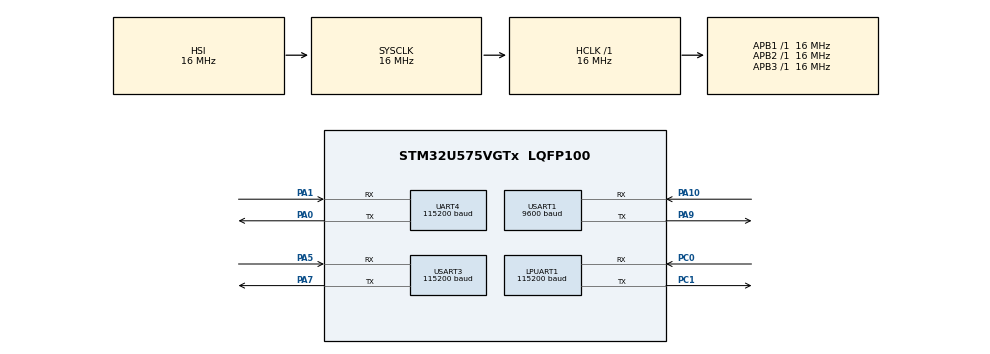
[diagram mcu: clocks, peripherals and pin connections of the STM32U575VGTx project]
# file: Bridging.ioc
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CORTEX_M33_NS.userName=CORTEX_M33
Mcu.Family=STM32U5
Mcu.Name=STM32U575VGTx
Mcu.Package=LQFP100
NVIC.LPUART1_IRQn=true\:0\:0\:false\:false\:true\:true\:true\:true
NVIC.PriorityGroup=NVIC_PRIORITYGROUP_4
NVIC.UART4_IRQn=true\:0\:0\:false\:false\:true\:true\:true\:true
NVIC.USART1_IRQn=true\:0\:0\:false\:false\:true\:true\:true\:true
NVIC.USART3_IRQn=true\:0\:0\:false\:false\:true\:true\:true\:true
PA0.Mode=Asynchronous
PA0.Signal=UART4_TX
PA1.Mode=Asynchronous
PA1.Signal=UART4_RX
PA10.Mode=Asynchronous
PA10.Signal=USART1_RX
PA13\ (JTMS/SWDIO).Mode=Serial_Wire
PA13\ (JTMS/SWDIO).Signal=DEBUG_JTMS-SWDIO
PA14\ (JTCK/SWCLK).Mode=Serial_Wire
PA14\ (JTCK/SWCLK).Signal=DEBUG_JTCK-SWCLK
PA5.Mode=Asynchronous
PA5.Signal=USART3_RX
PA7.Mode=Asynchronous
PA7.Signal=USART3_TX
PA9.Mode=Asynchronous
PA9.Signal=USART1_TX
PC0.Mode=Asynchronous
PC0.Signal=LPUART1_RX
PC1.Mode=Asynchronous
PC1.Signal=LPUART1_TX
ProjectManager.HeapSize=0x200
ProjectManager.StackSize=0x400
ProjectManager.TargetToolchain=MDK-ARM V5.39
RCC.ADCFreq_Value=16000000
RCC.AHBFreq_Value=16000000
RCC.APB1Freq_Value=16000000
RCC.APB1TimFreq_Value=16000000
RCC.APB2Freq_Value=16000000
RCC.APB2TimFreq_Value=16000000
RCC.APB3Freq_Value=16000000
RCC.CortexFreq_Value=16000000
RCC.EPOD_VALUE=4000000
RCC.HCLKFreq_Value=16000000
RCC.HSE_VALUE=16000000
RCC.HSI48_VALUE=48000000
RCC.HSI_VALUE=16000000
RCC.LSE_VALUE=32768
RCC.LSIDIV_VALUE=32000
RCC.MSI_VALUE=4000000
RCC.SYSCLKFreq_VALUE=16000000
RCC.SYSCLKSource=RCC_SYSCLKSOURCE_HSI
RCC.USBFreq_Value=48000000
RCC.VCOOutputFreq_Value=516000000
LPUART1.BaudRate=115200
LPUART1.VirtualMode-Asynchronous=VM_ASYNC
UART4.BaudRate=115200
UART4.VirtualMode-Asynchronous=VM_ASYNC
USART1.BaudRate=9600
USART1.VirtualMode-Asynchronous=VM_ASYNC
USART3.BaudRate=115200
USART3.VirtualMode-Asynchronous=VM_ASYNC
VP_LPBAMQUEUE_VS_QUEUE.Mode=QUEUEMODE
VP_LPBAM_VS_SIG1.Mode=SmartRun
VP_LPBAM_VS_SIG4.Mode=LPDMA1
VP_MEMORYMAP_VS_MEMORYMAP.Mode=CurAppReg
VP_PWR_VS_SECSignals.Mode=Security/Privilege
board=custom

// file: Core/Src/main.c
/* USER CODE BEGIN Header */
/**
  ******************************************************************************
  * @file           : main.c
  * @brief          : Main program body
  ******************************************************************************
  * @attention
  *
  * Copyright (c) 2026 STMicroelectronics.
  * All rights reserved.
  *
  * This software is licensed under terms that can be found in the LICENSE file
  * in the root directory of this software component.
  * If no LICENSE file comes with this software, it is provided AS-IS.
  *
  ******************************************************************************
  */
/* USER CODE END Header */
#include "main.h"

/* USER CODE BEGIN Includes */
#include <string.h>
/* USER CODE END Includes */

/* USER CODE BEGIN PTD */
#define FRAME_SOF0                     0x55U
#define FRAME_SOF1                     0xAAU
#define FRAME_MAX_PAYLOAD              250U
#define UART_RX_DMA_BUFFER_SIZE        512U
#define USART3_RX_QUEUE_SIZE           8192U
#define USART3_TX_FRAME_SIZE           (2U + 1U + 1U + FRAME_MAX_PAYLOAD + 1U)
#define RESPONSE_QUEUE_DEPTH           128U
#define FRAME_PARSE_TIMEOUT_MS         100U
#define USART3_INTER_FRAME_GAP_MS      1U
#define USART3_TX_TIMEOUT_MS           50U

typedef enum
{
  FRAME_WAIT_SOF0 = 0,
  FRAME_WAIT_SOF1,
  FRAME_WAIT_PORT,
  FRAME_WAIT_LEN,
  FRAME_WAIT_PAYLOAD,
  FRAME_WAIT_CHECKSUM
} FrameParseState;

typedef struct
{
  FrameParseState state;
  uint8_t port_id;
  uint8_t len;
  uint8_t index;
  uint8_t checksum;
  uint8_t payload[FRAME_MAX_PAYLOAD];
} FrameParser;

typedef struct
{
  UART_HandleTypeDef *huart;
  uint8_t *rx_buf[2];
  uint16_t rx_buf_size;
  uint8_t active_rx_buf;
} UartRxDmaContext;

typedef struct
{
  uint8_t port_id;
  uint8_t len;
  uint8_t payload[FRAME_MAX_PAYLOAD];
} ResponseItem;

/* USER CODE END PTD */

UART_HandleTypeDef hlpuart1;
UART_HandleTypeDef huart4;
UART_HandleTypeDef huart1;
UART_HandleTypeDef huart3;

/* USER CODE BEGIN PV */
static FrameParser usart3_frame_parser = {0};
static uint8_t usart3_rx_dma_buf[2][UART_RX_DMA_BUFFER_SIZE];
static uint8_t usart3_rx_queue[USART3_RX_QUEUE_SIZE];
static UartRxDmaContext usart3_rx_ctx = {
  &huart3, {usart3_rx_dma_buf[0], usart3_rx_dma_buf[1]},
  UART_RX_DMA_BUFFER_SIZE, 0U
};
static volatile uint16_t usart3_rx_head = 0U;
static volatile uint16_t usart3_rx_tail = 0U;
static volatile uint32_t usart3_rx_overflow_count = 0U;
static volatile uint32_t uart_dma_restart_error_count = 0U;
static uint8_t usart3_tx_dma_buf[USART3_TX_FRAME_SIZE];
static volatile uint8_t usart3_tx_dma_busy = 0U;
static volatile uint32_t usart3_tx_start_tick = 0U;
static volatile uint32_t usart3_tx_done_tick = 0U;
static volatile uint8_t usart3_rx_restart_pending = 0U;
static ResponseItem response_queue[RESPONSE_QUEUE_DEPTH];
static volatile uint8_t resp_head = 0U;
static volatile uint8_t resp_tail = 0U;
static volatile uint32_t response_queue_overflow_count = 0U;
static uint32_t usart3_frame_parser_tick = 0U;

/* USER CODE END PV */

void SystemClock_Config(void);
static void MX_GPIO_Init(void);
static void MX_LPUART1_UART_Init(void);
static void MX_UART4_Init(void);
static void MX_USART1_UART_Init(void);
static void MX_USART3_UART_Init(void);
/* USER CODE BEGIN PFP */
static void App_InitEcho(void);
static void App_ProcessEcho(void);
static HAL_StatusTypeDef App_StartRxDma(UartRxDmaContext *ctx);
static void App_HandleFrame(uint8_t port_id, const uint8_t *payload, uint8_t len);
static void App_TrySendNextResponse(void);
static void App_CheckTxTimeout(void);
static uint16_t App_BuildResponseFrame(uint8_t *buf, uint8_t port_id, const uint8_t *payload, uint8_t len);
static void App_QueueUsart3RxBytes(const uint8_t *payload, uint16_t len);
static uint8_t App_DequeueUsart3RxByte(uint8_t *data);
static void App_RestoreIrqState(uint32_t primask);
static uint8_t FrameParser_Input(FrameParser *parser, uint8_t data);

/* USER CODE END PFP */

int main(void)
{

  /* MCU Configuration--------------------------------------------------------*/

  /* Reset of all peripherals, Initializes the Flash interface and the Systick. */
  HAL_Init();

  /* Configure the system clock */
  SystemClock_Config();

  /* Initialize all configured peripherals */
  MX_GPIO_Init();
  MX_LPUART1_UART_Init();
  MX_UART4_Init();
  MX_USART1_UART_Init();
  MX_USART3_UART_Init();
  /* USER CODE BEGIN 2 */
  App_InitEcho();

  /* USER CODE END 2 */

  /* Infinite loop */
  while (1)
  {

    /* USER CODE BEGIN 3 */
    App_ProcessEcho();
  }
  /* USER CODE END 3 */
}

void SystemClock_Config(void)
{
  RCC_OscInitTypeDef RCC_OscInitStruct = {0};
  RCC_ClkInitTypeDef RCC_ClkInitStruct = {0};

  /** Configure the main internal regulator output voltage
  */
  if (HAL_PWREx_ControlVoltageScaling(PWR_REGULATOR_VOLTAGE_SCALE4) != HAL_OK)
  {
    Error_Handler();
  }

  /** Initializes the CPU, AHB and APB buses clocks
  */
  RCC_OscInitStruct.OscillatorType = RCC_OSCILLATORTYPE_HSI;
  RCC_OscInitStruct.HSIState = RCC_HSI_ON;
  RCC_OscInitStruct.HSICalibrationValue = RCC_HSICALIBRATION_DEFAULT;
  RCC_OscInitStruct.PLL.PLLState = RCC_PLL_NONE;
  if (HAL_RCC_OscConfig(&RCC_OscInitStruct) != HAL_OK)
  {
    Error_Handler();
  }

  /** Initializes the CPU, AHB and APB buses clocks
  */
  RCC_ClkInitStruct.ClockType = RCC_CLOCKTYPE_HCLK|RCC_CLOCKTYPE_SYSCLK
                              |RCC_CLOCKTYPE_PCLK1|RCC_CLOCKTYPE_PCLK2
                              |RCC_CLOCKTYPE_PCLK3;
  RCC_ClkInitStruct.SYSCLKSource = RCC_SYSCLKSOURCE_HSI;
  RCC_ClkInitStruct.AHBCLKDivider = RCC_SYSCLK_DIV1;
  RCC_ClkInitStruct.APB1CLKDivider = RCC_HCLK_DIV1;
  RCC_ClkInitStruct.APB2CLKDivider = RCC_HCLK_DIV1;
  RCC_ClkInitStruct.APB3CLKDivider = RCC_HCLK_DIV1;

  if (HAL_RCC_ClockConfig(&RCC_ClkInitStruct, FLASH_LATENCY_1) != HAL_OK)
  {
    Error_Handler();
  }
}

static void MX_LPUART1_UART_Init(void)
{

  hlpuart1.Instance = LPUART1;
  hlpuart1.Init.BaudRate = 115200;
  hlpuart1.Init.WordLength = UART_WORDLENGTH_8B;
  hlpuart1.Init.StopBits = UART_STOPBITS_1;
  hlpuart1.Init.Parity = UART_PARITY_NONE;
  hlpuart1.Init.Mode = UART_MODE_TX_RX;
  hlpuart1.Init.HwFlowCtl = UART_HWCONTROL_NONE;
  hlpuart1.Init.OneBitSampling = UART_ONE_BIT_SAMPLE_DISABLE;
  hlpuart1.Init.ClockPrescaler = UART_PRESCALER_DIV1;
  hlpuart1.AdvancedInit.AdvFeatureInit = UART_ADVFEATURE_NO_INIT;
  hlpuart1.FifoMode = UART_FIFOMODE_DISABLE;
  if (HAL_UART_Init(&hlpuart1) != HAL_OK)
  {
    Error_Handler();
  }
  if (HAL_UARTEx_SetTxFifoThreshold(&hlpuart1, UART_TXFIFO_THRESHOLD_1_8) != HAL_OK)
  {
    Error_Handler();
  }
  if (HAL_UARTEx_SetRxFifoThreshold(&hlpuart1, UART_RXFIFO_THRESHOLD_1_8) != HAL_OK)
  {
    Error_Handler();
  }
  if (HAL_UARTEx_DisableFifoMode(&hlpuart1) != HAL_OK)
  {
    Error_Handler();
  }

}

static void MX_UART4_Init(void)
{

  huart4.Instance = UART4;
  huart4.Init.BaudRate = 115200;
  huart4.Init.WordLength = UART_WORDLENGTH_8B;
  huart4.Init.StopBits = UART_STOPBITS_1;
  huart4.Init.Parity = UART_PARITY_NONE;
  huart4.Init.Mode = UART_MODE_TX_RX;
  huart4.Init.HwFlowCtl = UART_HWCONTROL_NONE;
  huart4.Init.OverSampling = UART_OVERSAMPLING_16;
  huart4.Init.OneBitSampling = UART_ONE_BIT_SAMPLE_DISABLE;
  huart4.Init.ClockPrescaler = UART_PRESCALER_DIV1;
  huart4.AdvancedInit.AdvFeatureInit = UART_ADVFEATURE_NO_INIT;
  if (HAL_UART_Init(&huart4) != HAL_OK)
  {
    Error_Handler();
  }
  if (HAL_UARTEx_SetTxFifoThreshold(&huart4, UART_TXFIFO_THRESHOLD_1_8) != HAL_OK)
  {
    Error_Handler();
  }
  if (HAL_UARTEx_SetRxFifoThreshold(&huart4, UART_RXFIFO_THRESHOLD_1_8) != HAL_OK)
  {
    Error_Handler();
  }
  if (HAL_UARTEx_DisableFifoMode(&huart4) != HAL_OK)
  {
    Error_Handler();
  }

}

static void MX_USART1_UART_Init(void)
{

  huart1.Instance = USART1;
  huart1.Init.BaudRate = 9600;
  huart1.Init.WordLength = UART_WORDLENGTH_8B;
  huart1.Init.StopBits = UART_STOPBITS_1;
  huart1.Init.Parity = UART_PARITY_NONE;
  huart1.Init.Mode = UART_MODE_TX_RX;
  huart1.Init.HwFlowCtl = UART_HWCONTROL_NONE;
  huart1.Init.OverSampling = UART_OVERSAMPLING_16;
  huart1.Init.OneBitSampling = UART_ONE_BIT_SAMPLE_DISABLE;
  huart1.Init.ClockPrescaler = UART_PRESCALER_DIV1;
  huart1.AdvancedInit.AdvFeatureInit = UART_ADVFEATURE_NO_INIT;
  if (HAL_UART_Init(&huart1) != HAL_OK)
  {
    Error_Handler();
  }
  if (HAL_UARTEx_SetTxFifoThreshold(&huart1, UART_TXFIFO_THRESHOLD_1_8) != HAL_OK)
  {
    Error_Handler();
  }
  if (HAL_UARTEx_SetRxFifoThreshold(&huart1, UART_RXFIFO_THRESHOLD_1_8) != HAL_OK)
  {
    Error_Handler();
  }
  if (HAL_UARTEx_DisableFifoMode(&huart1) != HAL_OK)
  {
    Error_Handler();
  }

}

static void MX_USART3_UART_Init(void)
{

  huart3.Instance = USART3;
  huart3.Init.BaudRate = 921600;
  huart3.Init.WordLength = UART_WORDLENGTH_8B;
  huart3.Init.StopBits = UART_STOPBITS_1;
  huart3.Init.Parity = UART_PARITY_NONE;
  huart3.Init.Mode = UART_MODE_TX_RX;
  huart3.Init.HwFlowCtl = UART_HWCONTROL_NONE;
  huart3.Init.OverSampling = UART_OVERSAMPLING_16;
  huart3.Init.OneBitSampling = UART_ONE_BIT_SAMPLE_DISABLE;
  huart3.Init.ClockPrescaler = UART_PRESCALER_DIV1;
  huart3.AdvancedInit.AdvFeatureInit = UART_ADVFEATURE_NO_INIT;
  if (HAL_UART_Init(&huart3) != HAL_OK)
  {
    Error_Handler();
  }
  if (HAL_UARTEx_SetTxFifoThreshold(&huart3, UART_TXFIFO_THRESHOLD_1_8) != HAL_OK)
  {
    Error_Handler();
  }
  if (HAL_UARTEx_SetRxFifoThreshold(&huart3, UART_RXFIFO_THRESHOLD_1_8) != HAL_OK)
  {
    Error_Handler();
  }
  if (HAL_UARTEx_EnableFifoMode(&huart3) != HAL_OK)   /* FIX: 开启 USART3 FIFO,提高高速桥接链路抗中断延迟的余量 */
  {
    Error_Handler();
  }

}

static void MX_GPIO_Init(void)
{

  /* GPIO Ports Clock Enable */
  __HAL_RCC_GPIOC_CLK_ENABLE();
  __HAL_RCC_GPIOA_CLK_ENABLE();

}

/* USER CODE BEGIN 4 */
static void App_InitEcho(void)
{
  if (App_StartRxDma(&usart3_rx_ctx) != HAL_OK)
  {
    Error_Handler();
  }
}

static void App_ProcessEcho(void)
{
  uint8_t data;

  if (usart3_rx_restart_pending != 0U)
  {
    if (App_StartRxDma(&usart3_rx_ctx) == HAL_OK)
    {
      usart3_rx_restart_pending = 0U;
    }
  }

  while (App_DequeueUsart3RxByte(&data) != 0U)
  {
    if (FrameParser_Input(&usart3_frame_parser, data) != 0U)
    {
      App_HandleFrame(usart3_frame_parser.port_id,
                      usart3_frame_parser.payload,
                      usart3_frame_parser.len);
    }
  }

  App_CheckTxTimeout();

  /* FIX: 帧解析超时保护——半截帧后断流时强制复位状态机,避免吃掉下一帧的帧头 */
  if (usart3_frame_parser.state != FRAME_WAIT_SOF0)
  {
    if ((HAL_GetTick() - usart3_frame_parser_tick) > FRAME_PARSE_TIMEOUT_MS)
    {
      usart3_frame_parser.state = FRAME_WAIT_SOF0;
    }
  }
  else
  {
    usart3_frame_parser_tick = HAL_GetTick();
  }

  App_TrySendNextResponse();
}

static HAL_StatusTypeDef App_StartRxDma(UartRxDmaContext *ctx)
{
  HAL_StatusTypeDef status;

  if ((ctx == 0) || (ctx->huart == 0) || (ctx->huart->hdmarx == 0))
  {
    return HAL_ERROR;
  }

  __HAL_UART_CLEAR_FLAG(ctx->huart,
                        UART_CLEAR_OREF | UART_CLEAR_FEF |
                        UART_CLEAR_NEF | UART_CLEAR_PEF |
                        UART_CLEAR_IDLEF);

  status = HAL_UARTEx_ReceiveToIdle_DMA(ctx->huart,
                                        ctx->rx_buf[ctx->active_rx_buf],
                                        ctx->rx_buf_size);
  if (status == HAL_OK)
  {
    __HAL_DMA_DISABLE_IT(ctx->huart->hdmarx, DMA_IT_HT);
  }

  return status;
}

static void App_HandleFrame(uint8_t port_id, const uint8_t *payload, uint8_t len)
{
  uint8_t next_head;

  if (len == 0U)
  {
    return;
  }

  next_head = (uint8_t)((resp_head + 1U) % RESPONSE_QUEUE_DEPTH);
  if (next_head == resp_tail)
  {
    response_queue_overflow_count++;   /* FIX: 记录响应队列溢出丢帧(原来是静默丢弃,无法诊断) */
    return;
  }

  /* FIX: 预留 1 字节给 '*',即使接近满帧也能追加标记,保证行为一致 */
  if (len > (uint8_t)(FRAME_MAX_PAYLOAD - 1U))
  {
    len = (uint8_t)(FRAME_MAX_PAYLOAD - 1U);
  }
  memcpy(response_queue[resp_head].payload, payload, len);
  response_queue[resp_head].payload[len++] = '*';
  response_queue[resp_head].port_id = port_id;
  response_queue[resp_head].len = len;
  resp_head = next_head;
}

static void App_TrySendNextResponse(void)
{
  ResponseItem *item;
  uint16_t frame_len;

  if (usart3_tx_dma_busy != 0U)
  {
    return;
  }

  if (resp_tail == resp_head)
  {
    return;
  }

  if ((usart3_tx_done_tick != 0U) &&
      ((HAL_GetTick() - usart3_tx_done_tick) < USART3_INTER_FRAME_GAP_MS))
  {
    return;
  }

  item = &response_queue[resp_tail];
  frame_len = App_BuildResponseFrame(usart3_tx_dma_buf, item->port_id, item->payload, item->len);
  if (frame_len == 0U)
  {
    resp_tail = (uint8_t)((resp_tail + 1U) % RESPONSE_QUEUE_DEPTH);
    return;
  }

  usart3_tx_dma_busy = 1U;
  usart3_tx_start_tick = HAL_GetTick();
  if (HAL_UART_Transmit_DMA(&huart3, usart3_tx_dma_buf, frame_len) != HAL_OK)
  {
    usart3_tx_dma_busy = 0U;
    return;
  }

  resp_tail = (uint8_t)((resp_tail + 1U) % RESPONSE_QUEUE_DEPTH);
}

static void App_CheckTxTimeout(void)
{
  if ((usart3_tx_dma_busy != 0U) &&
      ((HAL_GetTick() - usart3_tx_start_tick) > USART3_TX_TIMEOUT_MS))
  {
    (void)HAL_UART_AbortTransmit(&huart3);
    usart3_tx_dma_busy = 0U;
  }
}

static uint16_t App_BuildResponseFrame(uint8_t *buf, uint8_t port_id, const uint8_t *payload, uint8_t len)
{
  uint8_t checksum;
  uint16_t offset = 0U;
  uint8_t i;

  if (len > FRAME_MAX_PAYLOAD)
  {
    return 0U;
  }

  buf[offset++] = FRAME_SOF0;
  buf[offset++] = FRAME_SOF1;
  buf[offset++] = port_id;
  buf[offset++] = len;

  checksum = (uint8_t)(port_id + len);
  for (i = 0U; i < len; i++)
  {
    buf[offset++] = payload[i];
    checksum = (uint8_t)(checksum + payload[i]);
  }

  buf[offset++] = checksum;
  return offset;
}

static void App_QueueUsart3RxBytes(const uint8_t *payload, uint16_t len)
{
  uint16_t i;

  for (i = 0U; i < len; i++)
  {
    uint16_t next_head = (uint16_t)((usart3_rx_head + 1U) % USART3_RX_QUEUE_SIZE);

    if (next_head == usart3_rx_tail)
    {
      usart3_rx_overflow_count++;
      return;
    }

    usart3_rx_queue[usart3_rx_head] = payload[i];
    __DMB();                          /* FIX: 内存屏障,确保数据写入先于 head 更新对消费者可见 */
    usart3_rx_head = next_head;
  }
}

static uint8_t App_DequeueUsart3RxByte(uint8_t *data)
{
  uint32_t primask;

  if (usart3_rx_tail == usart3_rx_head)
  {
    return 0U;
  }

  primask = __get_PRIMASK();
  __disable_irq();

  if (usart3_rx_tail == usart3_rx_head)
  {
    App_RestoreIrqState(primask);
    return 0U;
  }

  *data = usart3_rx_queue[usart3_rx_tail];
  usart3_rx_tail = (uint16_t)((usart3_rx_tail + 1U) % USART3_RX_QUEUE_SIZE);
  App_RestoreIrqState(primask);
  return 1U;
}

static void App_RestoreIrqState(uint32_t primask)
{
  if (primask == 0U)
  {
    __enable_irq();
  }
}

static uint8_t FrameParser_Input(FrameParser *parser, uint8_t data)
{
  switch (parser->state)
  {
    case FRAME_WAIT_SOF0:
      if (data == FRAME_SOF0)
      {
        parser->state = FRAME_WAIT_SOF1;
      }
      break;

    case FRAME_WAIT_SOF1:
      if (data == FRAME_SOF1)
      {
        parser->state = FRAME_WAIT_PORT;
      }
      else if (data != FRAME_SOF0)
      {
        parser->state = FRAME_WAIT_SOF0;
      }
      break;

    case FRAME_WAIT_PORT:
      parser->port_id = data;
      parser->checksum = data;
      parser->state = FRAME_WAIT_LEN;
      break;

    case FRAME_WAIT_LEN:
      if (data > FRAME_MAX_PAYLOAD)
      {
        parser->state = FRAME_WAIT_SOF0;
      }
      else
      {
        parser->len = data;
        parser->index = 0U;
        parser->checksum = (uint8_t)(parser->checksum + data);
        parser->state = (data == 0U) ? FRAME_WAIT_CHECKSUM : FRAME_WAIT_PAYLOAD;
      }
      break;

    case FRAME_WAIT_PAYLOAD:
      parser->payload[parser->index++] = data;
      parser->checksum = (uint8_t)(parser->checksum + data);
      if (parser->index >= parser->len)
      {
        parser->state = FRAME_WAIT_CHECKSUM;
      }
      break;

    case FRAME_WAIT_CHECKSUM:
      parser->state = FRAME_WAIT_SOF0;
      if (parser->checksum == data)
      {
        return 1U;
      }
      break;

    default:
      parser->state = FRAME_WAIT_SOF0;
      break;
  }

  return 0U;
}

void HAL_UART_TxCpltCallback(UART_HandleTypeDef *huart)
{
  if (huart->Instance == USART3)
  {
    usart3_tx_done_tick = HAL_GetTick();
    usart3_tx_dma_busy = 0U;
  }
}

void HAL_UARTEx_RxEventCallback(UART_HandleTypeDef *huart, uint16_t Size)
{
  uint8_t *completed_buf;

  if (huart != usart3_rx_ctx.huart)
  {
    return;
  }

  if (HAL_UARTEx_GetRxEventType(huart) == HAL_UART_RXEVENT_HT)
  {
    return;
  }

  if (Size > usart3_rx_ctx.rx_buf_size)
  {
    Size = usart3_rx_ctx.rx_buf_size;
  }

  completed_buf = usart3_rx_ctx.rx_buf[usart3_rx_ctx.active_rx_buf];
  usart3_rx_ctx.active_rx_buf ^= 1U;

  if (App_StartRxDma(&usart3_rx_ctx) != HAL_OK)
  {
    usart3_rx_restart_pending = 1U;
    uart_dma_restart_error_count++;
  }

  if (Size > 0U)
  {
    App_QueueUsart3RxBytes(completed_buf, Size);
  }
}

void HAL_UART_ErrorCallback(UART_HandleTypeDef *huart)
{
  if (huart != usart3_rx_ctx.huart)
  {
    return;
  }

  __HAL_UART_CLEAR_FLAG(huart,
                        UART_CLEAR_OREF | UART_CLEAR_FEF |
                        UART_CLEAR_NEF | UART_CLEAR_PEF |
                        UART_CLEAR_IDLEF);

  if (App_StartRxDma(&usart3_rx_ctx) != HAL_OK)
  {
    usart3_rx_restart_pending = 1U;
    uart_dma_restart_error_count++;
  }
}

/* USER CODE END 4 */

void Error_Handler(void)
{
  __disable_irq();
  while (1)
  {
  }
}
